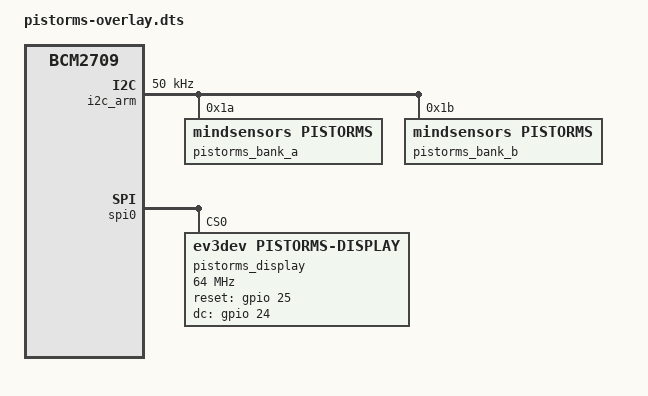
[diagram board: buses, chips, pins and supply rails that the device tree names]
// Definitions for mindsensors.com PiStorms
// http://www.mindsensors.com/stem-education/13-pistorms-base-kit
//
// with inspiration from piscreen-overlay.dts
// init comes from https://github.com/adafruit/Adafruit_Python_ILI9341/blob/master/Adafruit_ILI9341/ILI9341.py
/dts-v1/;
/plugin/;

/ {
	compatible = "brcm,bcm2835", "brcm,bcm2708", "brcm,bcm2709";

	fragment@0 {
		target-path = "/chosen";
		__overlay__ {
			bootargs = "fbcon=map:1";
		};
	};

	fragment@1 {
		target = <&i2c_arm>;
		__overlay__ {
			#address-cells = <1>;
			#size-cells = <0>;
			status = "okay";
			clock-frequency = <50000>;

			pistorms_bank_a: pistorms@1a {
				compatible = "mindsensors,pistorms";
				reg = <0x1a>;
				status = "okay";
			};

			pistorms_bank_b: pistorms@1b {
				compatible = "mindsensors,pistorms";
				reg = <0x1b>;
				status = "okay";
			};
		};
	};

	fragment@2 {
		target = <&spi0>;
		__overlay__ {
			status = "okay";

			spidev@0{
				status = "disabled";
			};

			spidev@1{
				status = "disabled";
			};
		};
	};

	fragment@3 {
		target = <&gpio>;
		__overlay__ {
			pistorms_pins: pistorms_pins {
				brcm,pins = <24 25>;
				brcm,function = <1 1>; /* out out */
			};
		};
	};

	fragment@4 {
		target = <&spi0>;
		__overlay__ {
			#address-cells = <1>;
			#size-cells = <0>;

			pistorms_display: pistorms_display@0 {
				compatible = "ev3dev,pistorms-display";
				reg = <0>;
				pinctrl-names = "default";
				pinctrl-0 = <&pistorms_pins>;

				spi-max-frequency = <64000000>;
				rotation = <90>;
				reset-gpios = <&gpio 25 0>;
				dc-gpios = <&gpio 24 0>;
			};
		};
	};

	__overrides__ {
		speed =		<&pistorms_display>,"spi-max-frequency:0";
		rotate =	<&pistorms_display>,"rotation:0";
	};
};
